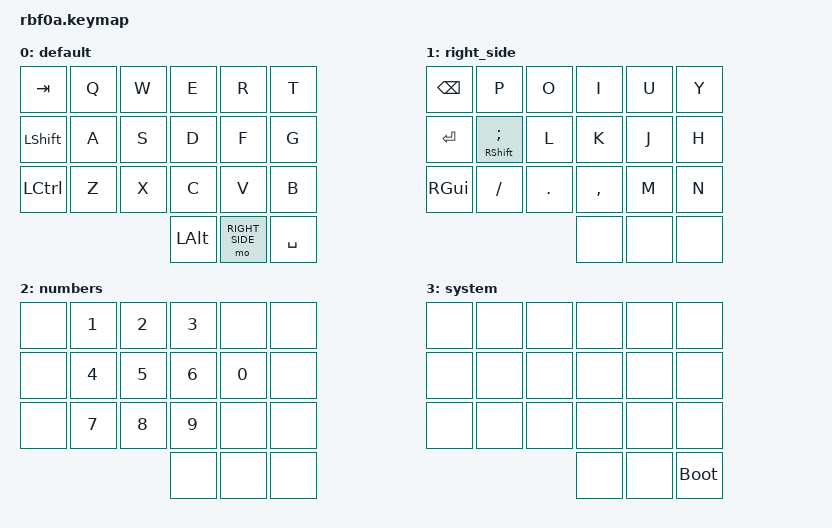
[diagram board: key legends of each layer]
#include <behaviors.dtsi>
#include <dt-bindings/zmk/keys.h>
#include <dt-bindings/zmk/bt.h>

#define DEFAULT    0
#define RIGHT_SIDE 1
#define NUMBERS    2
#define SYSTEM     3

#define _ &none

#define a &kp A
#define b &kp B
#define c &kp C
#define d &kp D
#define e &kp E
#define f &kp F
#define g &kp G
#define h &kp H
#define i &kp I
#define j &kp J
#define k &kp K
#define l &kp L
#define m &kp M
#define n &kp N
#define o &kp O
#define p &kp P
#define q &kp Q
#define q &kp Q
#define r &kp R
#define s &kp S
#define t &kp T
#define u &kp U
#define v &kp V
#define w &kp W
#define x &kp X
#define y &kp Y
#define z &kp Z

#define n0 &kp NUMBER_0
#define n1 &kp NUMBER_1
#define n2 &kp NUMBER_2
#define n3 &kp NUMBER_3
#define n4 &kp NUMBER_4
#define n5 &kp NUMBER_5
#define n6 &kp NUMBER_6
#define n7 &kp NUMBER_7
#define n8 &kp NUMBER_8
#define n9 &kp NUMBER_9

#define fn0  &kp F0
#define fn1  &kp F1
#define fn2  &kp F2
#define fn3  &kp F3
#define fn4  &kp F4
#define fn5  &kp F5
#define fn6  &kp F6
#define fn7  &kp F7
#define fn8  &kp F8
#define fn9  &kp F9
#define fn10 &kp F10
#define fn11 &kp F11
#define fn12 &kp F12

#define and     &kp AMPERSAND
#define at      &kp AT_SIGN
#define bang    &kp EXCLAMATION
#define bksp    &kp BACKSPACE
#define brgh_dw &kp C_BRIGHTNESS_DEC
#define brgh_up &kp C_BRIGHTNESS_INC
#define bslash  &kp BSLH
#define caret   &kp CARET
#define colon   &kp COLON
#define comma   &kp COMMA
#define d_qoute &kp DOUBLE_QUOTES
#define dollar  &kp DOLLAR
#define dot     &kp DOT
#define down    &kp DOWN
#define end     &kp END
#define enter   &kp ENTER
#define equal   &kp EQUAL
#define fslash  &kp FSLH
#define grave   &kp GRAVE
#define greater &kp GREATER_THAN
#define hash    &kp HASH
#define home    &kp HOME
#define lalt    &kp LEFT_ALT
#define lbrace  &kp LEFT_BRACE
#define lbrckt  &kp LEFT_BRACKET
#define lctrl   &kp LEFT_CONTROL
#define left    &kp LEFT
#define less    &kp LESS_THAN
#define lock    &kp C_AL_LOCK
#define lparen  &kp LEFT_PARENTHESIS
#define minus   &kp MINUS
#define mute    &kp C_MUTE
#define next    &kp C_NEXT
#define page_dw &kp PAGE_DOWN
#define page_up &kp PAGE_UP
#define period  &kp PERIOD
#define pipe    &kp PIPE
#define play    &kp C_PLAY_PAUSE
#define plus    &kp PLUS
#define prct    &kp PERCENT
#define prev    &kp C_PREVIOUS
#define qmark   &kp QUESTION
#define ralt    &kp RIGHT_ALT
#define rbrace  &kp RIGHT_BRACE
#define rbrckt  &kp RIGHT_BRACKET
#define rctrl   &kp RIGHT_CONTROL
#define rgui    &kp RIGHT_GUI
#define right   &kp RIGHT
#define rparen  &kp RIGHT_PARENTHESIS
#define lshift  &kp LEFT_SHIFT
#define rshift  &kp RIGHT_SHIFT
#define s_qoute &kp SINGLE_QUOTE
#define semi    &kp SEMICOLON
#define space   &kp SPACE
#define star    &kp ASTERISK
#define escape  &kp ESCAPE
#define tab     &kp TAB
#define tilde   &kp TILDE
#define toolbox &kp C_AC_DESKTOP_SHOW_ALL_APPLICATIONS
#define up      &kp UP
#define uscore  &kp UNDERSCORE
#define vol_dw  &kp C_VOLUME_DOWN
#define vol_up  &kp C_VOLUME_UP
#define window  &kp C_AC_DESKTOP_SHOW_ALL_WINDOWS

#define bt0     &bt BT_SEL 0
#define bt1     &bt BT_SEL 1
#define bt2     &bt BT_SEL 2
#define bt3     &bt BT_SEL 3
#define bt4     &bt BT_SEL 4
#define bt_clr  &bt BT_CLR
#define bt_next &bt BT_NXT
#define bt_prev &bt BT_PRV

#define mo_num  &mo NUMBERS
#define mo_rght &mo RIGHT_SIDE

#define boot    &bootloader

#define shf_scl &mt RIGHT_SHIFT SEMICOLON
#define alt_esc &mt LEFT_ALT    ESCAPE

&lt {
  tapping-term-ms = <150>;
};

/ {
  combos {
    compatible = "zmk,combos";
    bluetooth_layer {
      timeout-ms = <50>;
      key-positions = <0 18>;
      bindings = <&mo SYSTEM>;
    };
    numbers {
      timeout-ms = <50>;
      key-positions = <6 18>;
      bindings = <&mo NUMBERS>;
    };
    esc {
      timeout-ms = <50>;
      key-positions = <0 19>;
      bindings = <&kp ESCAPE>;
    };
  };
  keymap {
    compatible = "zmk,keymap";
    default {
      bindings =
        <
          tab     q       w       e       r       t     

          lshift  a       s       d       f       g     

          lctrl   z       x       c       v       b     

                                  lalt    mo_rght space
        >;
    };
    right_side{
      bindings =
        <
          bksp    p       o       i       u       y

          enter   shf_scl l       k       j       h

          rgui    fslash  period  comma   m       n
        
                                  _        _      _ 
        >;
    };
    numbers {
      bindings =
        <
          _       n1      n2      n3      _       _

          _       n4      n5      n6      n0      _

          _       n7      n8      n9      _       _

                                  _       _       _ 
        >;
    };
    system {
      bindings =
        <
          _       _       _       _       _       _     

          _       _       _       _       _       _     

          _       _       _       _       _       _

                                  _       _       boot
        >;
    };
  };
};
